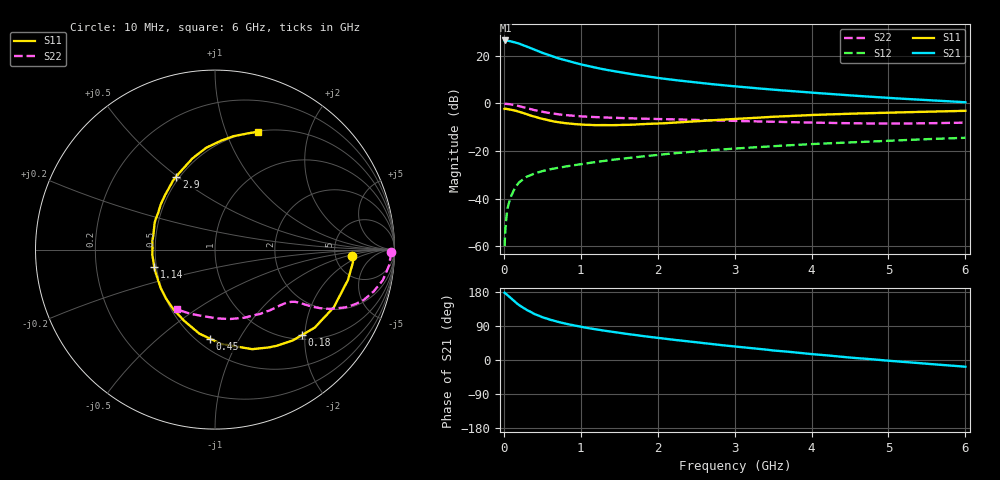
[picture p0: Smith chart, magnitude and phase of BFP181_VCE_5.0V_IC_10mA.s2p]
! Infineon Technologies  Discrete & RF Semiconductors
! BFP181
! VCE = 5.0 V,  IC =  10 mA
! Common Emitter S-Parameters:  Jan 2016
# GHz  S  MA  R  50
!  f  S11  S21  S12  S22
! GHz  MAG  ANG  MAG  ANG  MAG  ANG  MAG  ANG
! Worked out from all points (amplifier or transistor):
!   210 points, 10 MHz to 6 GHz, reference 50 ohm
!   highest |S21| = 26.4 dB at 20 MHz (marker M1)
!   |S21| within 3 dB of that: start of sweep to 332.1 MHz
!   unconditionally stable (mu >= 1): 1.245 GHz to end of sweep
!   at 185 MHz: K = 0.26, MSG = 29.5 dB, |S12| = -33.7 dB
!   at 1.52 GHz: K = 1.07, MAG = 16.6 dB, |S12| = -23.3 dB
!   at 6 GHz: K = 1.02, MAG = 6.7 dB, |S12| = -14.5 dB
!   S11 on the Smith chart (normalised r, x): 10 MHz: 7.33, -1.28; 180 MHz: 1.09, -1.93; 450 MHz: 0.58, -0.76; 1.14 GHz: 0.49, -0.11; 2.9 GHz: 0.48, +0.49; 6 GHz: 0.51, +1.30
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0.01  0.7664 -2.7  20.94 177.5  0.001 71.5  0.9807 -0.8
0.02  0.7721 -5.2  21 176.1  0.0022 91.8  0.9795 -2.0
0.05  0.7597 -12.9  20.8 170.3  0.0064 86.8  0.9741 -5.2
0.1  0.736 -25.8  19.92 161.3  0.0117 75.7  0.9506 -10.3
0.15  0.7055 -38.0  19.11 152.4  0.0173 71.0  0.9149 -14.7
0.18  0.6785 -44.7  18.41 147.8  0.0201 68.3  0.8903 -17.1
0.24  0.6367 -57.3  16.94 139.2  0.0246 63.8  0.8408 -21.1
0.3  0.5922 -69.5  15.62 131.9  0.0289 59.5  0.7926 -24.0
0.4  0.5267 -86.3  13.44 121.1  0.0337 55.7  0.7206 -27.3
0.45  0.4973 -93.1  12.47 117.4  0.0357 53.8  0.6928 -28.3
0.56  0.4471 -108.0  10.72 109.2  0.0398 51.0  0.6404 -30.0
0.7  0.4055 -124.9  8.932 100.8  0.0441 49.7  0.5922 -31.3
0.82  0.3812 -137.3  7.9 95.0  0.0477 49.2  0.5643 -31.9
1.02  0.3574 -154.6  6.5 87.0  0.0532 48.8  0.5326 -33.1
1.14  0.3512 -164.2  5.892 82.8  0.057 48.8  0.5196 -34.0
1.5  0.3523 172.4  4.545 71.5  0.0678 48.5  0.4934 -37.1
2.02  0.377 147.0  3.393 58.0  0.0833 46.4  0.4695 -43.2
2.9  0.4604 118.0  2.364 37.8  0.1094 41.4  0.4333 -56.4
3.1  0.4798 112.7  2.211 33.8  0.1151 40.1  0.4246 -59.8
4.1  0.5763 93.2  1.639 14.0  0.142 32.6  0.3926 -79.5
5.1  0.6453 79.6  1.275 -3.4  0.166 25.5  0.3767 -101.7
6  0.6979 70.1  1.057 -17.8  0.1893 18.6  0.3948 -122.4
